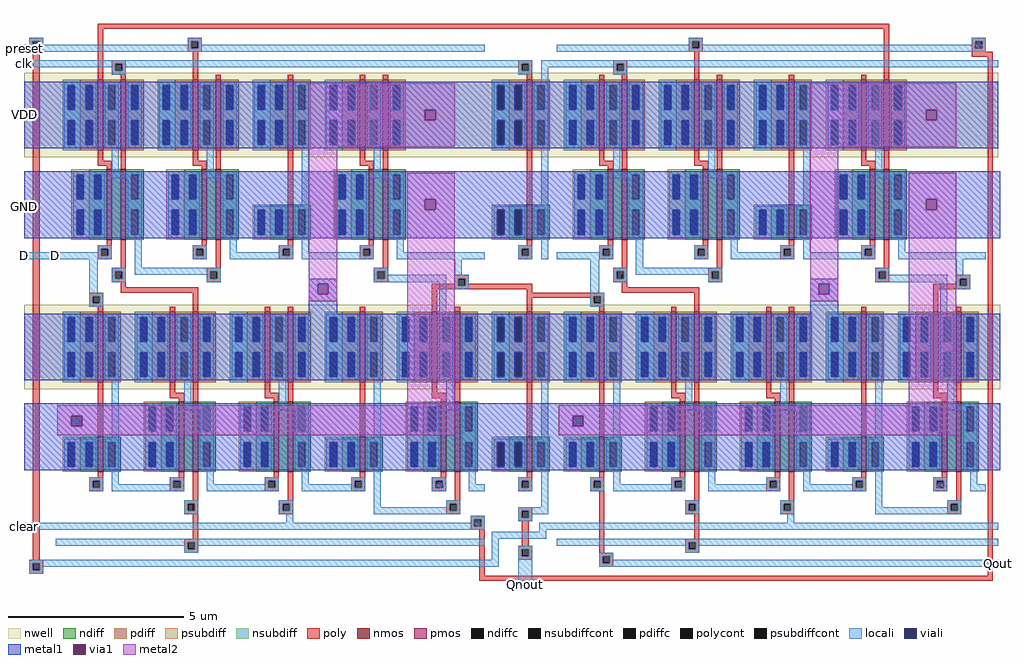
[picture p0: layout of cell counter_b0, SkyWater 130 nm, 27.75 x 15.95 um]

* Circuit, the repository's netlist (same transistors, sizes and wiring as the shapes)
* NGSPICE file created from /home/madvlsi/Documents/MADVLSI-Final_Project/layout/counter_b0.ext - technology: sky130A

.subckt inverter A Y VP VN
X0 Y A VN VN sky130_fd_pr__nfet_01v8 ad=5e+11p pd=3e+06u as=5e+11p ps=3e+06u w=1e+06u l=150000u
X1 Y A VP VP sky130_fd_pr__pfet_01v8 ad=1e+12p pd=5e+06u as=1e+12p ps=5e+06u w=2e+06u l=150000u
.ends

.subckt nand2 A B Y VP VN
X0 VP B Y VP sky130_fd_pr__pfet_01v8 ad=2e+12p pd=1e+07u as=1e+12p ps=5e+06u w=2e+06u l=150000u
X1 Y B a_80_120# VN sky130_fd_pr__nfet_01v8 ad=1e+12p pd=5e+06u as=5e+11p ps=4.5e+06u w=2e+06u l=150000u
X2 a_80_120# A VN VN sky130_fd_pr__nfet_01v8 ad=0p pd=0u as=1e+12p ps=5e+06u w=2e+06u l=150000u
X3 Y A VP VP sky130_fd_pr__pfet_01v8 ad=0p pd=0u as=0p ps=0u w=2e+06u l=150000u
.ends

.subckt and2 VSUBS nand2_0/VP nand2_0/A nand2_0/B inverter_0/Y
Xinverter_0 nand2_0/Y inverter_0/Y nand2_0/VP VSUBS inverter
Xnand2_0 nand2_0/A nand2_0/B nand2_0/Y nand2_0/VP VSUBS nand2
.ends

.subckt dff_lower VSUBS and2_0/nand2_0/B nand2_2/Y inverter_0/A nand2_2/VP nand2_0/B
+ nand2_2/A
Xinverter_0 inverter_0/A nand2_0/A nand2_2/VP VSUBS inverter
Xand2_0 VSUBS nand2_2/VP nand2_0/Y and2_0/nand2_0/B nand2_2/B and2
Xnand2_0 nand2_0/A nand2_0/B nand2_0/Y nand2_2/VP VSUBS nand2
Xnand2_2 nand2_2/A nand2_2/B nand2_2/Y nand2_2/VP VSUBS nand2
.ends

.subckt dff_upper VSUBS and2_0/nand2_0/A nand2_2/Y nand2_2/B nand2_0/B nand2_0/A nand2_2/VP
Xand2_0 VSUBS nand2_2/VP and2_0/nand2_0/A nand2_0/Y nand2_2/A and2
Xnand2_0 nand2_0/A nand2_0/B nand2_0/Y nand2_2/VP VSUBS nand2
Xnand2_2 nand2_2/A nand2_2/B nand2_2/Y nand2_2/VP VSUBS nand2
.ends

.subckt dff VDD GND Q dff_upper_0/nand2_2/B dff_upper_0/and2_0/nand2_0/A dff_upper_0/nand2_0/A
+ dff_upper_0/nand2_0/B dff_lower_0/and2_0/nand2_0/B
Xdff_lower_0 GND dff_lower_0/and2_0/nand2_0/B dff_upper_0/nand2_2/B dff_upper_0/nand2_0/A
+ VDD dff_upper_0/nand2_0/B Q dff_lower
Xdff_upper_0 GND dff_upper_0/and2_0/nand2_0/A Q dff_upper_0/nand2_2/B dff_upper_0/nand2_0/B
+ dff_upper_0/nand2_0/A VDD dff_upper
.ends


* Top level circuit /home/madvlsi/Documents/MADVLSI-Final_Project/layout/counter_b0

Xinverter_0 Qout Qnout VDD GND inverter
Xinverter_1 clk inverter_1/Y VDD GND inverter
Xdff_0 VDD GND Qout dff_0/dff_upper_0/nand2_2/B preset D clk clear dff
Xdff_1 VDD GND dff_1/Q D clear Qout inverter_1/Y preset dff
.end

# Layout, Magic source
magic
tech sky130A
<< nwell >>
rect -90 1125 5 1365
rect 2645 1125 2680 1365
rect -90 465 5 705
rect 2645 465 2685 705
<< poly >>
rect 120 1490 2370 1505
rect -75 1455 -35 1465
rect -75 1435 -65 1455
rect -45 1435 -35 1455
rect -75 1425 -35 1435
rect -65 -20 -45 1425
rect 120 1360 135 1490
rect 1315 1390 1355 1400
rect 1315 1370 1325 1390
rect 1345 1370 1355 1390
rect 1315 1360 1355 1370
rect 2355 1360 2370 1490
rect 2605 1455 2645 1465
rect 2605 1435 2615 1455
rect 2635 1435 2645 1455
rect 2605 1425 2645 1435
rect 2605 1410 2665 1425
rect 1175 750 1355 765
rect 1340 740 1355 750
rect 1340 725 1525 740
rect 1340 700 1355 725
rect 1315 120 1355 130
rect 1180 95 1220 105
rect 1180 75 1190 95
rect 1210 75 1220 95
rect 1315 100 1325 120
rect 1345 100 1355 120
rect 1315 90 1355 100
rect 1180 65 1220 75
rect -75 -30 -35 -20
rect -75 -50 -65 -30
rect -45 -50 -35 -30
rect -75 -60 -35 -50
rect 1205 -65 1220 65
rect 1325 20 1345 90
rect 1315 10 1355 20
rect 1315 -10 1325 10
rect 1345 -10 1355 10
rect 1315 -20 1355 -10
rect 1545 0 1560 175
rect 1545 -10 1585 0
rect 1545 -30 1555 -10
rect 1575 -30 1585 -10
rect 1545 -40 1585 -30
rect 2650 -65 2665 1410
rect 1205 -80 2665 -65
<< polycont >>
rect -65 1435 -45 1455
rect 1325 1370 1345 1390
rect 2615 1435 2635 1455
rect 1190 75 1210 95
rect 1325 100 1345 120
rect -65 -50 -45 -30
rect 1325 -10 1345 10
rect 1555 -30 1575 -10
<< locali >>
rect -75 1455 -35 1465
rect -75 1445 -65 1455
rect -90 1435 -65 1445
rect -45 1445 -35 1455
rect 2605 1455 2645 1465
rect -45 1435 25 1445
rect -90 1425 25 1435
rect 2605 1435 2615 1455
rect 2635 1435 2645 1455
rect 2605 1425 2645 1435
rect -90 1380 25 1400
rect 1220 1390 1355 1400
rect 1220 1380 1325 1390
rect 1315 1370 1325 1380
rect 1345 1370 1355 1390
rect 1315 1360 1355 1370
rect 1380 1380 1440 1400
rect 2645 1380 2680 1400
rect 1380 1340 1400 1380
rect -90 835 45 855
rect 1520 720 1525 740
rect 1380 130 1400 185
rect 1315 120 1400 130
rect 1180 95 1220 105
rect -90 65 15 85
rect 1180 75 1190 95
rect 1210 75 1220 95
rect 1315 100 1325 120
rect 1345 110 1400 120
rect 1345 100 1355 110
rect 1315 90 1355 100
rect 1180 65 1220 75
rect 1375 65 1430 85
rect 2645 65 2680 85
rect 1375 60 1395 65
rect 1240 40 1395 60
rect 1240 -20 1260 40
rect 2645 20 2680 40
rect -75 -30 1260 -20
rect -75 -50 -65 -30
rect -45 -40 1260 -30
rect 1315 10 1355 20
rect 1315 -10 1325 10
rect 1345 -10 1355 10
rect -45 -50 -35 -40
rect -75 -60 -35 -50
rect 1315 -90 1355 -10
rect 1545 -10 1585 0
rect 1545 -30 1555 -10
rect 1575 -20 1585 -10
rect 1575 -30 2680 -20
rect 1545 -40 2680 -30
<< metal1 >>
rect -90 1150 30 1340
rect 2645 1150 2680 1340
rect -90 895 15 1085
rect 2645 895 2685 1085
rect -90 490 5 680
rect 2645 490 2685 680
rect -90 235 0 425
rect 2645 235 2685 425
use dff  dff_1
transform 1 0 1430 0 1 70
box -5 -70 1215 1395
use dff  dff_0
transform 1 0 5 0 1 70
box -5 -70 1215 1395
use inverter  inverter_0
transform 1 0 1340 0 1 95
box -120 80 85 610
use inverter  inverter_1
transform 1 0 1340 0 1 755
box -120 80 85 610
<< labels >>
rlabel locali 0 845 0 845 7 D
rlabel locali -90 1435 -90 1435 7 preset
rlabel locali -90 1390 -90 1390 7 clk
rlabel locali -90 845 -90 845 7 D
rlabel locali -90 75 -90 75 7 clear
rlabel metal1 -90 1245 -90 1245 7 VDD
rlabel metal1 -90 985 -90 985 7 GND
rlabel locali 2680 -30 2680 -30 3 Qout
rlabel locali 1335 -90 1335 -90 5 Qnout
<< end >>

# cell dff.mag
magic
tech sky130A
<< nwell >>
rect 1010 1270 1215 1295
rect 990 1080 1215 1270
rect 1010 1055 1215 1080
rect 1200 395 1215 635
<< poly >>
rect 180 685 195 720
rect 1130 710 1170 720
rect 1130 695 1140 710
rect 1065 690 1140 695
rect 1160 690 1170 710
rect 180 670 400 685
rect 90 660 130 670
rect 90 640 100 660
rect 120 640 130 660
rect 90 630 130 640
rect 385 630 400 670
rect 1065 680 1170 690
rect 1065 630 1080 680
<< polycont >>
rect 1140 690 1160 710
rect 100 640 120 660
<< locali >>
rect 965 1355 1215 1375
rect 965 1310 1215 1330
rect 965 765 1215 785
rect 90 670 115 765
rect 1130 720 1150 765
rect 940 700 1105 720
rect 90 660 130 670
rect 90 640 100 660
rect 120 640 130 660
rect 90 630 130 640
rect 1085 610 1105 700
rect 1130 710 1170 720
rect 1130 690 1140 710
rect 1160 690 1170 710
rect 1130 680 1170 690
<< metal1 >>
rect -5 1190 1215 1270
rect -5 1160 1045 1190
rect 1075 1160 1215 1190
rect -5 1080 1215 1160
rect -5 935 1215 1015
rect -5 905 1045 935
rect 1075 905 1215 935
rect -5 825 1215 905
rect 715 695 795 710
rect 715 665 740 695
rect 770 665 795 695
rect 715 610 795 665
rect -5 420 1215 610
rect -5 320 1215 355
rect -5 290 40 320
rect 70 290 1215 320
rect -5 165 1215 290
<< via1 >>
rect 1045 1160 1075 1190
rect 1045 905 1075 935
rect 740 665 770 695
rect 40 290 70 320
<< metal2 >>
rect 715 1190 1130 1265
rect 715 1160 1045 1190
rect 1075 1160 1130 1190
rect 715 1085 1130 1160
rect 715 695 795 1085
rect 715 665 740 695
rect 770 665 795 695
rect 715 645 795 665
rect 995 935 1130 1010
rect 995 905 1045 935
rect 1075 905 1130 935
rect 995 350 1130 905
rect 0 320 1130 350
rect 0 290 40 320
rect 70 290 1130 320
rect 0 265 1130 290
use dff_lower  dff_lower_0
transform 1 0 -35 0 1 130
box 30 -200 1250 505
use dff_upper  dff_upper_0
transform 1 0 -5 0 1 700
box 0 0 1015 695
<< labels >>
rlabel space -5 5 -5 5 7 clear
port 7 w
rlabel space -5 1365 -5 1365 7 preset
port 6 w
rlabel space -5 1320 -5 1320 7 CLK
port 5 w
rlabel space -5 775 -5 775 7 D
port 3 w
rlabel metal1 -5 1175 -5 1175 7 VDD
port 1 w
rlabel metal1 -5 920 -5 920 7 GND
port 2 w
rlabel locali 1215 775 1215 775 3 Q
port 4 e
<< end >>

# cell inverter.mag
magic
tech sky130A
<< nwell >>
rect -120 370 85 610
<< nmos >>
rect 0 135 15 235
<< pmos >>
rect 0 390 15 590
<< ndiff >>
rect -50 220 0 235
rect -50 150 -35 220
rect -15 150 0 220
rect -50 135 0 150
rect 15 220 65 235
rect 15 150 30 220
rect 50 150 65 220
rect 15 135 65 150
<< pdiff >>
rect -50 575 0 590
rect -50 505 -35 575
rect -15 505 0 575
rect -50 475 0 505
rect -50 405 -35 475
rect -15 405 0 475
rect -50 390 0 405
rect 15 575 65 590
rect 15 505 30 575
rect 50 505 65 575
rect 15 475 65 505
rect 15 405 30 475
rect 50 405 65 475
rect 15 390 65 405
<< ndiffc >>
rect -35 150 -15 220
rect 30 150 50 220
<< pdiffc >>
rect -35 505 -15 575
rect -35 405 -15 475
rect 30 505 50 575
rect 30 405 50 475
<< psubdiff >>
rect -100 220 -50 235
rect -100 150 -85 220
rect -65 150 -50 220
rect -100 135 -50 150
<< nsubdiff >>
rect -100 575 -50 590
rect -100 505 -85 575
rect -65 505 -50 575
rect -100 475 -50 505
rect -100 405 -85 475
rect -65 405 -50 475
rect -100 390 -50 405
<< psubdiffcont >>
rect -85 150 -65 220
<< nsubdiffcont >>
rect -85 505 -65 575
rect -85 405 -65 475
<< poly >>
rect 0 590 15 605
rect 0 235 15 390
rect 0 120 15 135
rect -25 110 15 120
rect -25 90 -15 110
rect 5 90 15 110
rect -25 80 15 90
<< polycont >>
rect -15 90 5 110
<< locali >>
rect -95 575 -5 585
rect -95 505 -85 575
rect -65 505 -35 575
rect -15 505 -5 575
rect -95 475 -5 505
rect -95 405 -85 475
rect -65 405 -35 475
rect -15 405 -5 475
rect -95 395 -5 405
rect 20 575 60 585
rect 20 505 30 575
rect 50 505 60 575
rect 20 475 60 505
rect 20 405 30 475
rect 50 405 60 475
rect 20 395 60 405
rect 40 230 60 395
rect -95 220 -5 230
rect -95 150 -85 220
rect -65 150 -35 220
rect -15 150 -5 220
rect -95 140 -5 150
rect 20 220 60 230
rect 20 150 30 220
rect 50 150 60 220
rect 20 140 60 150
rect -25 110 15 120
rect -25 90 -15 110
rect 5 90 15 110
rect -25 80 15 90
rect 40 80 60 140
<< viali >>
rect -85 505 -65 575
rect -35 505 -15 575
rect -85 405 -65 475
rect -35 405 -15 475
rect -85 150 -65 220
rect -35 150 -15 220
<< metal1 >>
rect -120 575 85 585
rect -120 505 -85 575
rect -65 505 -35 575
rect -15 505 85 575
rect -120 475 85 505
rect -120 405 -85 475
rect -65 405 -35 475
rect -15 405 85 475
rect -120 395 85 405
rect -120 220 85 330
rect -120 150 -85 220
rect -65 150 -35 220
rect -15 150 85 220
rect -120 140 85 150
<< labels >>
rlabel metal1 -120 235 -120 235 7 VN
port 4 w
rlabel locali -25 100 -25 100 7 A
port 1 w
rlabel locali 60 90 60 90 3 Y
port 2 e
rlabel metal1 -120 490 -120 490 7 VP
port 3 w
<< end >>

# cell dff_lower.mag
magic
tech sky130A
<< poly >>
rect 420 -160 435 -50
rect 395 -170 435 -160
rect 395 -190 405 -170
rect 425 -190 435 -170
rect 395 -200 435 -190
<< polycont >>
rect 405 -190 425 -170
<< locali >>
rect 210 -25 355 -5
rect 460 -25 630 -5
rect 935 -70 955 -15
rect 1100 -25 1130 -5
rect 1205 -25 1250 -5
rect 935 -90 1140 -70
rect 685 -115 705 -90
rect 30 -135 1250 -115
rect 30 -170 1250 -160
rect 30 -180 405 -170
rect 395 -190 405 -180
rect 425 -180 1250 -170
rect 425 -190 435 -180
rect 395 -200 435 -190
use nand2  nand2_2
transform 1 0 1100 0 1 -30
box -120 -60 150 535
use nand2  nand2_0
transform 1 0 355 0 1 -30
box -120 -60 150 535
use and2  and2_0
transform 1 0 775 0 1 15
box -270 -105 205 490
use inverter  inverter_0
transform 1 0 150 0 1 -105
box -120 80 85 610
<< end >>

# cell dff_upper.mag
magic
tech sky130A
<< poly >>
rect 375 685 415 695
rect 375 665 385 685
rect 405 665 415 685
rect 375 655 415 665
rect 160 620 200 630
rect 160 600 170 620
rect 190 600 200 620
rect 160 590 200 600
rect 390 590 405 655
<< polycont >>
rect 385 665 405 685
rect 170 600 190 620
<< locali >>
rect 375 685 415 695
rect 375 675 385 685
rect 0 665 385 675
rect 405 675 415 685
rect 405 665 1015 675
rect 0 655 1015 665
rect 0 620 1015 630
rect 0 610 170 620
rect 160 600 170 610
rect 190 610 1015 620
rect 190 600 200 610
rect 160 590 200 600
rect 0 65 120 85
rect 225 40 245 90
rect 390 85 395 105
rect 715 65 865 85
rect 225 20 430 40
use nand2  nand2_2
transform 1 0 865 0 1 60
box -120 -60 150 535
use nand2  nand2_0
transform 1 0 120 0 1 60
box -120 -60 150 535
use and2  and2_0
transform 1 0 540 0 1 105
box -270 -105 205 490
<< end >>

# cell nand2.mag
magic
tech sky130A
<< nwell >>
rect -120 295 150 535
<< nmos >>
rect 25 60 40 260
rect 65 60 80 260
<< pmos >>
rect 0 315 15 515
rect 65 315 80 515
<< ndiff >>
rect -25 245 25 260
rect -25 175 -10 245
rect 10 175 25 245
rect -25 145 25 175
rect -25 75 -10 145
rect 10 75 25 145
rect -25 60 25 75
rect 40 60 65 260
rect 80 245 130 260
rect 80 175 95 245
rect 115 175 130 245
rect 80 145 130 175
rect 80 75 95 145
rect 115 75 130 145
rect 80 60 130 75
<< pdiff >>
rect -50 500 0 515
rect -50 430 -35 500
rect -15 430 0 500
rect -50 400 0 430
rect -50 330 -35 400
rect -15 330 0 400
rect -50 315 0 330
rect 15 500 65 515
rect 15 430 30 500
rect 50 430 65 500
rect 15 400 65 430
rect 15 330 30 400
rect 50 330 65 400
rect 15 315 65 330
rect 80 500 130 515
rect 80 430 95 500
rect 115 430 130 500
rect 80 400 130 430
rect 80 330 95 400
rect 115 330 130 400
rect 80 315 130 330
<< ndiffc >>
rect -10 175 10 245
rect -10 75 10 145
rect 95 175 115 245
rect 95 75 115 145
<< pdiffc >>
rect -35 430 -15 500
rect -35 330 -15 400
rect 30 430 50 500
rect 30 330 50 400
rect 95 430 115 500
rect 95 330 115 400
<< psubdiff >>
rect -75 245 -25 260
rect -75 175 -60 245
rect -40 175 -25 245
rect -75 145 -25 175
rect -75 75 -60 145
rect -40 75 -25 145
rect -75 60 -25 75
<< nsubdiff >>
rect -100 500 -50 515
rect -100 430 -85 500
rect -65 430 -50 500
rect -100 400 -50 430
rect -100 330 -85 400
rect -65 330 -50 400
rect -100 315 -50 330
<< psubdiffcont >>
rect -60 175 -40 245
rect -60 75 -40 145
<< nsubdiffcont >>
rect -85 430 -65 500
rect -85 330 -65 400
<< poly >>
rect 0 515 15 530
rect 65 515 80 530
rect 0 285 15 315
rect 0 270 40 285
rect 25 260 40 270
rect 65 260 80 315
rect 25 45 40 60
rect 0 35 40 45
rect 0 15 10 35
rect 30 15 40 35
rect 0 5 40 15
rect 65 -20 80 60
rect 40 -30 80 -20
rect 40 -50 50 -30
rect 70 -50 80 -30
rect 40 -60 80 -50
<< polycont >>
rect 10 15 30 35
rect 50 -50 70 -30
<< locali >>
rect -95 500 -5 510
rect -95 430 -85 500
rect -65 430 -35 500
rect -15 430 -5 500
rect -95 400 -5 430
rect -95 330 -85 400
rect -65 330 -35 400
rect -15 330 -5 400
rect -95 320 -5 330
rect 20 500 60 510
rect 20 430 30 500
rect 50 430 60 500
rect 20 400 60 430
rect 20 330 30 400
rect 50 330 60 400
rect 20 320 60 330
rect 85 500 125 510
rect 85 430 95 500
rect 115 430 125 500
rect 85 400 125 430
rect 85 330 95 400
rect 115 330 125 400
rect 85 320 125 330
rect 40 255 60 320
rect -70 245 20 255
rect -70 175 -60 245
rect -40 175 -10 245
rect 10 175 20 245
rect 40 245 125 255
rect 40 235 95 245
rect -70 145 20 175
rect -70 75 -60 145
rect -40 75 -10 145
rect 10 75 20 145
rect -70 65 20 75
rect 85 175 95 235
rect 115 175 125 245
rect 85 145 125 175
rect 85 75 95 145
rect 115 75 125 145
rect 85 65 125 75
rect 0 35 40 45
rect 0 15 10 35
rect 30 15 40 35
rect 105 25 125 65
rect 0 5 40 15
rect 40 -30 80 -20
rect 40 -50 50 -30
rect 70 -50 80 -30
rect 40 -60 80 -50
<< viali >>
rect -85 430 -65 500
rect -35 430 -15 500
rect -85 330 -65 400
rect -35 330 -15 400
rect 95 430 115 500
rect 95 330 115 400
rect -60 175 -40 245
rect -10 175 10 245
rect -60 75 -40 145
rect -10 75 10 145
<< metal1 >>
rect -120 500 150 510
rect -120 430 -85 500
rect -65 430 -35 500
rect -15 430 95 500
rect 115 430 150 500
rect -120 400 150 430
rect -120 330 -85 400
rect -65 330 -35 400
rect -15 330 95 400
rect 115 330 150 400
rect -120 320 150 330
rect -120 245 150 255
rect -120 175 -60 245
rect -40 175 -10 245
rect 10 175 150 245
rect -120 145 150 175
rect -120 75 -60 145
rect -40 75 -10 145
rect 10 75 150 145
rect -120 65 150 75
<< labels >>
rlabel metal1 -120 160 -120 160 7 VN
port 5 w
rlabel metal1 -120 415 -120 415 7 VP
port 4 w
rlabel locali 0 35 0 35 7 A
port 1 w
rlabel locali 125 35 125 35 3 Y
port 3 e
rlabel locali 40 -30 40 -30 7 B
port 2 w
<< end >>

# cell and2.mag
magic
tech sky130A
<< locali >>
rect -45 -40 95 -20
use nand2  nand2_0
transform 1 0 -150 0 1 -45
box -120 -60 150 535
use inverter  inverter_0
transform 1 0 120 0 1 -120
box -120 80 85 610
<< end >>
